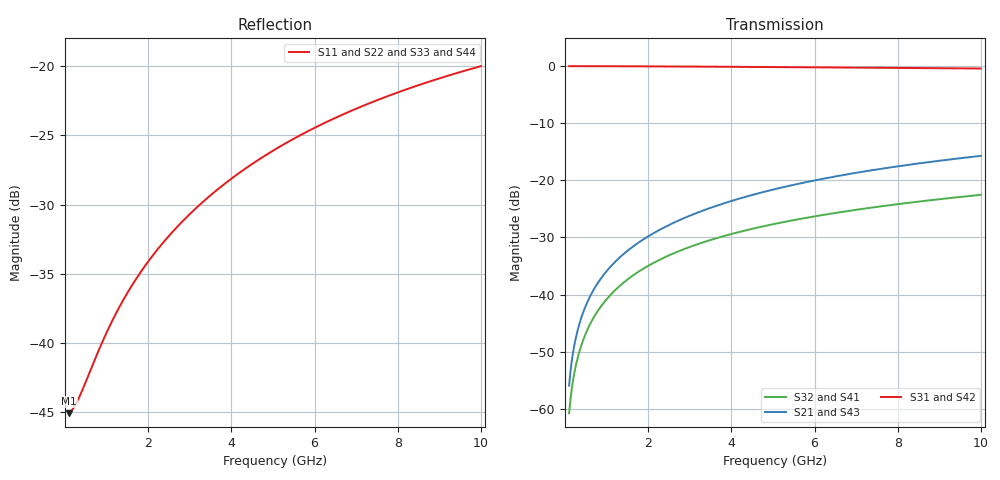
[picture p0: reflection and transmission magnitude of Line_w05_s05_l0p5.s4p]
! TOUCHSTONE file generated by CST MICROWAVE STUDIO
! Date and time: Thu Oct 23 10:57:40 2014
! Project name: Untitled_0.cst
# GHZ S MA R 50
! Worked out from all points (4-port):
!   1001 points, 100 MHz to 10 GHz, reference 50 ohm
!   strongest paths, dB at 100 MHz, 2.575 GHz, 5.05 GHz, 7.525 GHz, 10 GHz:
!     S31: 0.0, -0.1, -0.2, -0.3, -0.5
!     S42: 0.0, -0.1, -0.2, -0.3, -0.5
!     S21: -55.9, -27.6, -21.6, -18.1, -15.7
!     S43: -55.9, -27.6, -21.6, -18.1, -15.7
!     S32: -60.8, -32.9, -27.6, -24.6, -22.6
!     S41: -60.8, -32.9, -27.6, -24.6, -22.6
!   lowest |S11| = -45.1 dB at 100 MHz (marker M1), VSWR 1.01, Z = 50.6 + j0.0938 ohm
!   |S11| at or under -10 dB: start of sweep to end of sweep
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0.1  0.00555 9.6  0.001595 89.9  0.9945 -0.2  0.0009146 -90.5
     0.001595 89.9  0.00555 9.6  0.0009146 -90.5  0.9945 -0.2
     0.9945 -0.2  0.0009146 -90.5  0.00555 9.6  0.001595 89.9
     0.0009146 -90.5  0.9945 -0.2  0.001595 89.9  0.00555 9.6
0.3277  0.006278 29.0  0.005229 89.7  0.9944 -0.7  0.002995 -91.7
        0.005229 89.7  0.006272 28.9  0.002995 -91.7  0.9944 -0.7
        0.9944 -0.7  0.002995 -91.7  0.006278 29.0  0.005229 89.7
        0.002995 -91.7  0.9944 -0.7  0.005229 89.7  0.006272 28.9
0.7039  0.008584 49.5  0.01125 89.3  0.994 -1.5  0.006414 -93.7
        0.01125 89.3  0.008563 49.4  0.006414 -93.7  0.994 -1.5
        0.994 -1.5  0.006414 -93.7  0.008583 49.5  0.01125 89.3
        0.006414 -93.7  0.994 -1.5  0.01125 89.3  0.008563 49.4
1.3078  0.01345 64.4  0.02097 88.6  0.9927 -2.7  0.01182 -96.8
        0.02097 88.6  0.01341 64.4  0.01182 -96.8  0.9927 -2.7
        0.9927 -2.7  0.01182 -96.8  0.01345 64.4  0.02097 88.6
        0.01182 -96.8  0.9927 -2.7  0.02097 88.6  0.01341 64.4
2.1889  0.02141 72.6  0.03539 87.4  0.9899 -4.5  0.01942 -101.0
        0.03539 87.4  0.02133 72.6  0.01942 -101.0  0.9899 -4.5
        0.9899 -4.5  0.01942 -101.0  0.02141 72.6  0.03539 87.4
        0.01942 -101.0  0.9899 -4.5  0.03539 87.4  0.02133 72.6
5.2084  0.05168 75.9  0.08627 81.6  0.9757 -10.2  0.0427 -112.5
        0.08628 81.6  0.05153 75.9  0.04271 -112.5  0.9757 -10.2
        0.9757 -10.2  0.04271 -112.5  0.05168 75.9  0.08627 81.6
        0.0427 -112.5  0.9757 -10.2  0.08627 81.6  0.05152 75.9
10  0.1002 67.0  0.1633 71.1  0.9489 -18.5  0.07451 -126.5
    0.1633 71.1  0.09997 67.0  0.07451 -126.5  0.9488 -18.5
    0.9489 -18.5  0.07451 -126.5  0.1002 67.0  0.1633 71.2
    0.07451 -126.5  0.9488 -18.5  0.1633 71.2  0.09995 67.0
